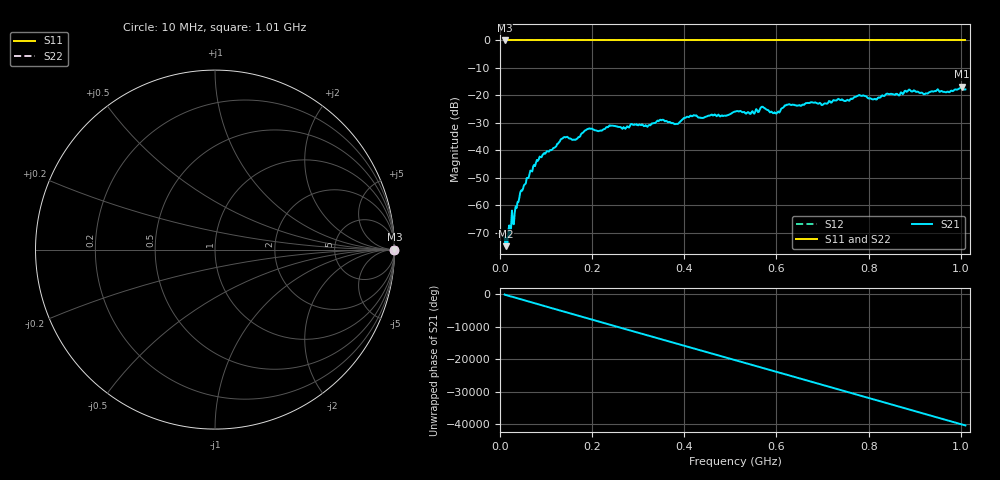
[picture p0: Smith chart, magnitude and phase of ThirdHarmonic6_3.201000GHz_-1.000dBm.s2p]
! 8/17/2025 9:43:18 AM
! C:\ANRITSUVNA\TEMP\TEMP.S2P
! CHANNEL.1
! TR.MEASUREMENT
! RAW.DATA
! RF.CORRECTION.OFF
! AVERAGING.OFF
! IF.BANDWIDTH: 5KHZ
! SWEEPTYPE:  FREQ.SWEEP(Linear)
! Reference Plane Port Info
! PORT:  PORT1  PORT2
! DISTANCE:  0  m  0  m
! TIME:  0  s  0  s
! PHASE.OFFSET:  0  deg.  0  deg.
! LOSS:  0  dB  0  dB
! REF.LOSS:  0  dB  0  dB
! REF.FREQ:  0  Hz  0  Hz
! Power Info
! POWER:  -20  dBm  -20  dBm
! EFF.POWER:  -20  dBm  -20  dBm
! SOURCE.ATTEN:  0  dB  0  dB
! TEST.ATTEN:  0  dB  0  dB
# GHZ S RI R 50.0
! FREQ.GHZ  S11RE  S11IM  S21RE  S21IM  S12RE  S12IM  S22RE  S22IM
!; PortSelection: Port_12
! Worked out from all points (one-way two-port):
!   501 points, 10 MHz to 1.01 GHz, reference 50 ohm
!   highest |S21| = -16.84 dB at 1.002 GHz (marker M1); lowest = -74.9 dB at 12 MHz (marker M2)
!   lowest |S11| = 0.0 dB at 10 MHz (marker M3)
!   |S11| at or under -10 dB: nowhere
!   |S22| runs from 0.0 to 0.0 dB; largest |S21 - S12| = 1.1
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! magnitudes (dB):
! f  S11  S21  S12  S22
! 10 MHz  0.0  -71.5  0.0  0.0
! 12 MHz  0.0  -74.9  0.0  0.0
! 26 MHz  0.0  -61.9  0.0  0.0
! 48 MHz  0.0  -54.7  0.0  0.0
! 82 MHz  0.0  -43.8  0.0  0.0
! 136 MHz  0.0  -35.6  0.0  0.0
! 162 MHz  0.0  -36.1  0.0  0.0
! 178 MHz  0.0  -33.7  0.0  0.0
! 344 MHz  0.0  -29.4  0.0  0.0
! 382 MHz  0.0  -30.3  0.0  0.0
! 416 MHz  0.0  -27.6  0.0  0.0
! 510 MHz  0.0  -25.9  0.0  0.0
! 548 MHz  0.0  -25.7  0.0  0.0
! 570 MHz  0.0  -24.1  0.0  0.0
! 596 MHz  0.0  -26.1  0.0  0.0
! 622 MHz  0.0  -23.4  0.0  0.0
! 678 MHz  0.0  -22.5  0.0  0.0
! 780 MHz  0.0  -19.8  0.0  0.0
! 814 MHz  0.0  -21.2  0.0  0.0
! 844 MHz  0.0  -19.5  0.0  0.0
! 1.002 GHz  0.0  -16.8  0.0  0.0
! 1.01 GHz  0.0  -17.8  0.0  0.0
